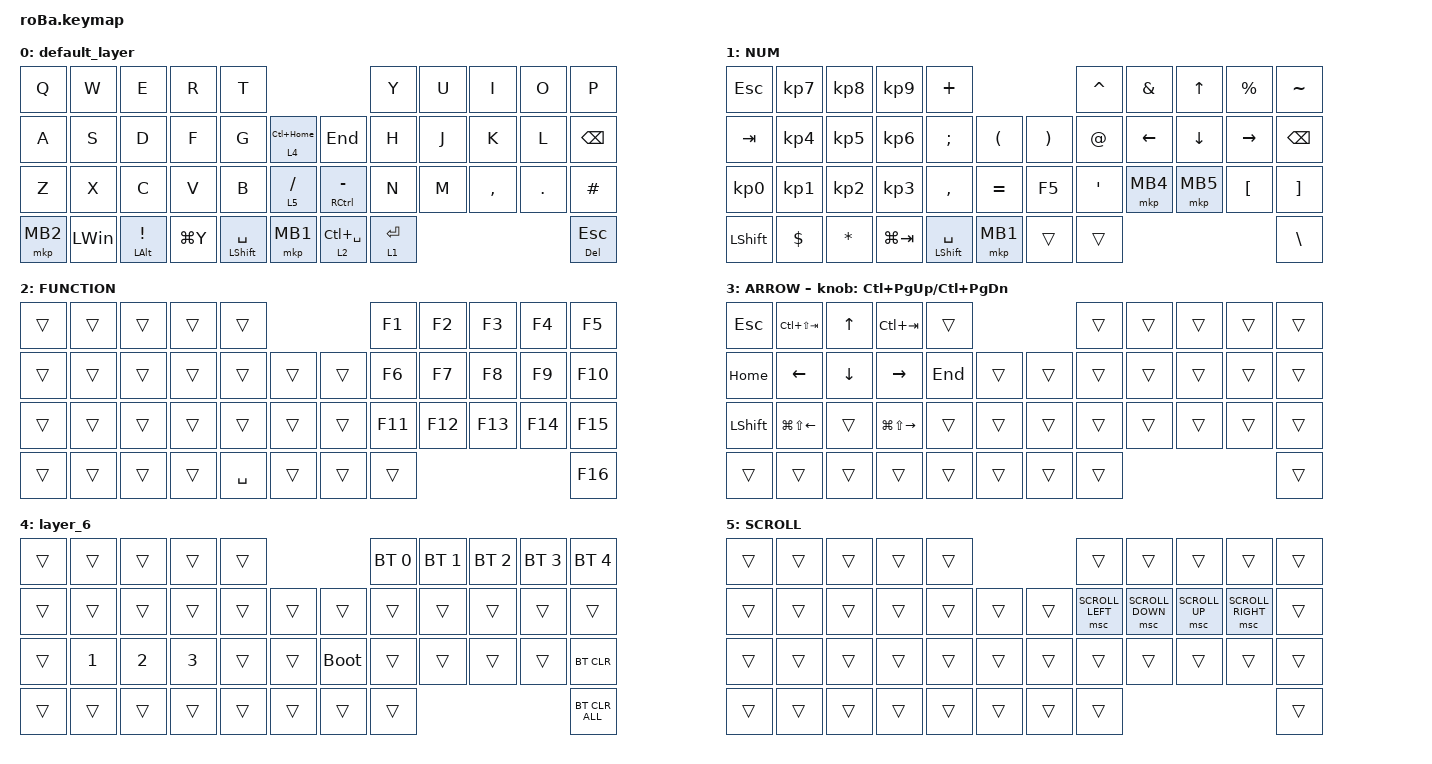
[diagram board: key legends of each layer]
#include <dt-bindings/zmk/mouse.h>
#include <behaviors.dtsi>
#include <dt-bindings/zmk/bt.h>
#include <dt-bindings/zmk/keys.h>
#include <dt-bindings/zmk/pointing.h>

#ifndef SCROLL_UP

#define SCROLL_UP 0x01
#define SCROLL_DOWN 0x02
#define SCROLL_LEFT 0x04
#define SCROLL_RIGHT 0x08

#endif

#define MOUSE 4
#define SCROLL 5
#define NUM 6

&mt {
    flavor = "balanced";
    quick-tap-ms = <0>;
};

/ {
    combos { compatible = "zmk,combos"; };

    macros {
        to_layer_0: to_layer_0 {
            compatible = "zmk,behavior-macro-one-param";
            #binding-cells = <1>;
            bindings = <&to 0 &macro_param_1to1 &kp MACRO_PLACEHOLDER>;
            label = "TO_LAYER_0";
        };
    };

    behaviors {
        lt_to_layer_0: lt_to_layer_0 {
            compatible = "zmk,behavior-hold-tap";
            label = "LAYER_TAP_TO_0";
            bindings = <&mo>, <&to_layer_0>;

            #binding-cells = <2>;
            tapping-term-ms = <200>;
        };
    };

    keymap {
        compatible = "zmk,keymap";

        default_layer {
            bindings = <
&kp Q     &kp W         &kp E              &kp R      &kp T                                                      &kp Y        &kp U  &kp I      &kp O    &kp P
&kp A     &kp S         &kp D              &kp F      &kp G                 &lt 4 LC(HOME)      &kp END          &kp H        &kp J  &kp K      &kp L    &kp BACKSPACE
&kp Z     &kp X         &kp C              &kp V      &kp B                 &lt 5 SLASH         &mt RCTRL MINUS  &kp N        &kp M  &kp COMMA  &kp DOT  &kp HASH
&mkp MB2  &kp LEFT_WIN  &mt LEFT_ALT EXCL  &kp LG(Y)  &mt LEFT_SHIFT SPACE  &mkp MB1            &lt 2 LC(SPACE)  &lt 1 ENTER                             &mt DEL ESCAPE
            >;
        };

        NUM {
            bindings = <
&kp ESCAPE       &kp KP_NUMBER_7  &kp KP_NUMBER_8  &kp KP_NUMBER_9  &kp PLUS                                                               &kp CARET       &kp AMPERSAND  &kp UP_ARROW  &kp PERCENT       &kp TILDE
&kp TAB          &kp KP_NUMBER_4  &kp KP_NUMBER_5  &kp KP_NUMBER_6  &kp SEMICOLON         &kp LEFT_PARENTHESIS      &kp RIGHT_PARENTHESIS  &kp AT_SIGN     &kp LEFT       &kp DOWN      &kp RIGHT         &kp BACKSPACE
&kp KP_NUMBER_0  &kp KP_NUMBER_1  &kp KP_NUMBER_2  &kp KP_NUMBER_3  &kp COMMA             &kp EQUAL                 &kp F5                 &kp APOSTROPHE  &mkp MB4       &mkp MB5      &kp LEFT_BRACKET  &kp RIGHT_BRACKET
&kp LEFT_SHIFT   &kp DOLLAR       &kp ASTRK        &kp LG(TAB)      &mt LEFT_SHIFT SPACE  &mkp MB1                  &trans                 &trans                                                         &kp BACKSLASH
            >;
        };

        FUNCTION {
            bindings = <
&trans  &trans  &trans  &trans  &trans                         &kp F1   &kp F2   &kp F3   &kp F4   &kp F5
&trans  &trans  &trans  &trans  &trans     &trans      &trans  &kp F6   &kp F7   &kp F8   &kp F9   &kp F10
&trans  &trans  &trans  &trans  &trans     &trans      &trans  &kp F11  &kp F12  &kp F13  &kp F14  &kp F15
&trans  &trans  &trans  &trans  &kp SPACE  &trans      &trans  &trans                              &kp F16
            >;
        };

        ARROW {
            bindings = <
&kp ESCAPE      &kp LC(LS(TAB))         &kp UP_ARROW    &kp LC(TAB)              &trans                       &trans  &trans  &trans  &trans  &trans
&kp HOME        &kp LEFT_ARROW          &kp DOWN_ARROW  &kp RIGHT_ARROW          &kp END  &trans      &trans  &trans  &trans  &trans  &trans  &trans
&kp LEFT_SHIFT  &kp LG(LS(LEFT_ARROW))  &trans          &kp LG(LS(RIGHT_ARROW))  &trans   &trans      &trans  &trans  &trans  &trans  &trans  &trans
&trans          &trans                  &trans          &trans                   &trans   &trans      &trans  &trans                          &trans
            >;

            sensor-bindings = <&inc_dec_kp LC(PAGE_UP) LC(PAGE_DOWN)>;
        };

        layer_6 {
            bindings = <
&trans  &trans        &trans        &trans        &trans                           &bt BT_SEL 0  &bt BT_SEL 1  &bt BT_SEL 2  &bt BT_SEL 3  &bt BT_SEL 4
&trans  &trans        &trans        &trans        &trans  &trans      &trans       &trans        &trans        &trans        &trans        &trans
&trans  &kp NUMBER_1  &kp NUMBER_2  &kp NUMBER_3  &trans  &trans      &bootloader  &trans        &trans        &trans        &trans        &bt BT_CLR
&trans  &trans        &trans        &trans        &trans  &trans      &trans       &trans                                                  &bt BT_CLR_ALL
            >;
        };

        SCROLL {
            bindings = <
&trans  &trans  &trans  &trans  &trans                      &trans            &trans            &trans          &trans             &trans
&trans  &trans  &trans  &trans  &trans  &trans      &trans  &msc SCROLL_LEFT  &msc SCROLL_DOWN  &msc SCROLL_UP  &msc SCROLL_RIGHT  &trans
&trans  &trans  &trans  &trans  &trans  &trans      &trans  &trans            &trans            &trans          &trans             &trans
&trans  &trans  &trans  &trans  &trans  &trans      &trans  &trans                                                                 &trans
            >;
        };
    };
};
